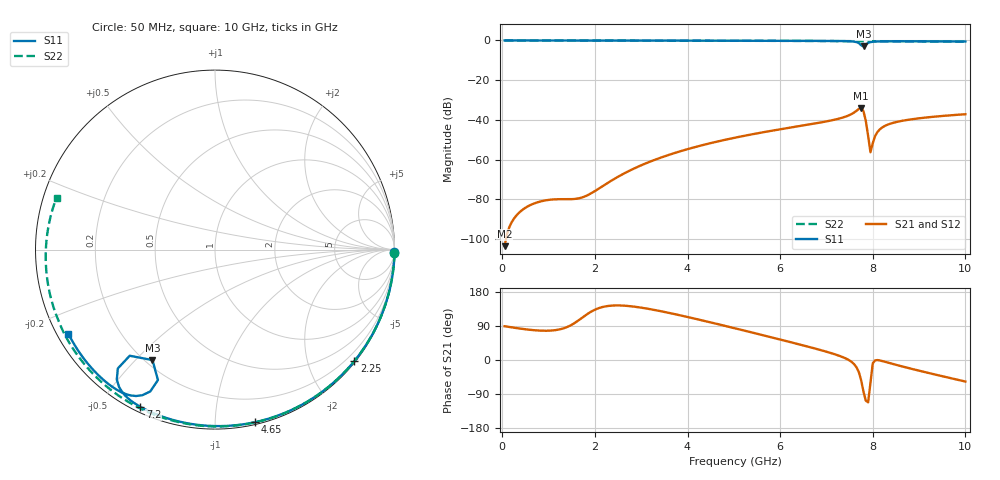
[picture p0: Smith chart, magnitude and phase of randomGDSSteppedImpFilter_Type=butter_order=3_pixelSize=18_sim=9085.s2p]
! freq	dB(S11)	phase(S11)	dB(S12)	phase(S12)
!  dB(S21)	phase(S21)	dB(S22)	phase(S22)
!S-par simulation data
#  GHz  S  DB  R 50
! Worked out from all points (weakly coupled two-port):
!   200 points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, 50 MHz to 10 GHz, reference 50 ohm
!   highest |S21| = -34.01 dB at 7.75 GHz (marker M1); lowest = -103.7 dB at 50 MHz (marker M2)
!   lowest |S11| = -3.0 dB at 7.8 GHz (marker M3), VSWR 5.83, Z = 11.4 - j28 ohm
!   |S11| at or under -10 dB: nowhere
!   |S22| runs from -0.6 to 0.0 dB; largest |S21 - S12| = 0
!   S11 on the Smith chart (normalised r, x): 50 MHz: open; 2.25 GHz: 0.03, -2.85; 4.65 GHz: 0.02, -1.26; 7.2 GHz: 0.02, -0.63; 10 GHz: 0.03, -0.27
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0.05  -0.00 -0.9  -103.68 89.0  -103.68 89.0  -0.00 -1.1
0.85  -0.02 -14.9  -80.99 77.3  -80.99 77.3  -0.02 -18.6
1.5  -0.03 -26.0  -79.98 93.1  -79.98 93.1  -0.04 -32.6
1.75  -0.04 -30.3  -78.91 113.9  -78.91 113.9  -0.05 -37.9
2.25  -0.05 -38.7  -72.18 142.0  -72.18 142.0  -0.06 -48.4
2.8  -0.06 -47.8  -65.04 141.5  -65.04 141.5  -0.08 -59.7
3.4  -0.08 -57.5  -59.24 129.4  -59.24 129.4  -0.09 -71.7
4.65  -0.11 -77.0  -50.91 94.8  -50.91 94.8  -0.14 -95.8
5.05  -0.13 -83.1  -48.88 82.9  -48.88 82.9  -0.16 -103.3
6.7  -0.21 -107.5  -42.05 32.0  -42.05 32.0  -0.26 -133.5
7.2  -0.27 -115.4  -39.81 14.3  -39.81 14.3  -0.30 -142.6
7.55  -0.48 -123.2  -36.98 -5.7  -36.98 -5.7  -0.33 -149.1
7.7  -1.36 -129.3  -34.49 -32.3  -34.49 -32.3  -0.35 -151.9
7.75  -2.40 -128.8  -34.01 -53.8  -34.01 -53.8  -0.35 -152.9
7.8  -3.01 -119.5  -35.68 -83.9  -35.68 -83.9  -0.37 -153.8
7.85  -2.01 -113.6  -40.62 -107.6  -40.62 -107.6  -0.37 -154.7
7.95  -0.85 -116.5  -56.35 -60.0  -56.35 -60.0  -0.38 -156.6
8.05  -0.56 -119.9  -48.20 -1.0  -48.20 -1.0  -0.39 -158.4
8.1  -0.50 -121.2  -46.16 -0.2  -46.16 -0.2  -0.39 -159.4
8.35  -0.40 -126.3  -42.19 -7.6  -42.19 -7.6  -0.42 -164.2
8.9  -0.41 -134.8  -39.53 -25.2  -39.53 -25.2  -0.48 -175.0
10  -0.52 -150.2  -37.17 -56.8  -37.17 -56.8  -0.64 161.8
